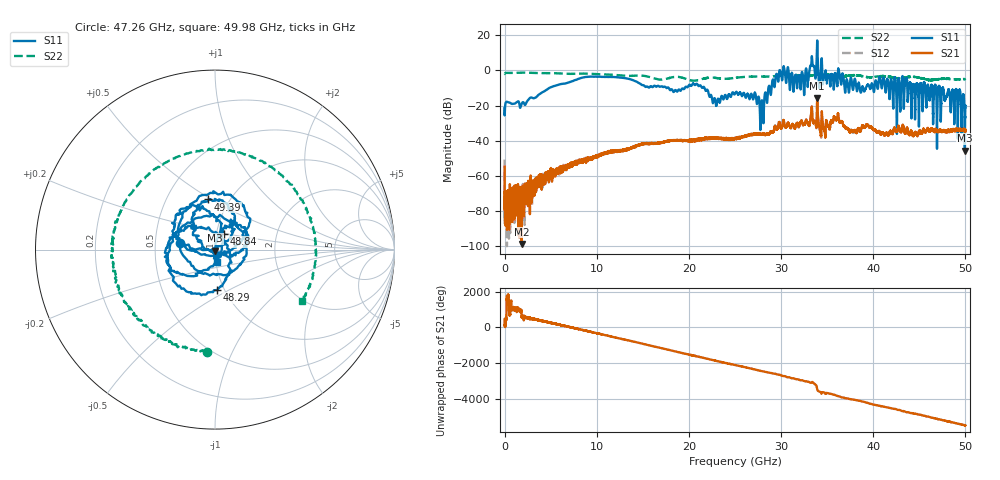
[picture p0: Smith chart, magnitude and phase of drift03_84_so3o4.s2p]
!Created with skrf (http://scikit-rf.org).
# Hz S RI R 50.0
!freq ReS11 ImS11 ReS21 ImS21 ReS12 ImS12 ReS22 ImS22
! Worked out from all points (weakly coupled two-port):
!   10001 points, 300 kHz to 50 GHz, reference 50 ohm
!   highest |S21| = -15.83 dB at 33.93 GHz (marker M1); lowest = -98.7 dB at 1.835 GHz (marker M2)
!   lowest |S11| = -45.5 dB at 49.95 GHz (marker M3), VSWR 1.01, Z = 50.2 - j0.505 ohm
!   |S11| at or under -10 dB: start of sweep to 4.851 GHz; 21.69 GHz to 28.62 GHz (6.936 GHz wide, 27.6 % of centre); 47.57 GHz to end of sweep (the widest 3 of 44)
!   |S22| runs from -5.9 to -1.3 dB; largest |S21 - S12| = 0.016
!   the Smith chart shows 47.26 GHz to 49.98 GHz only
!   S11 on the Smith chart (normalised r, x): 47.26 GHz: 0.68, +0.05; 48.29 GHz: 0.93, -0.44; 48.84 GHz: 1.09, +0.19; 49.39 GHz: 0.80, +0.49; 49.98 GHz: 1.02, -0.14
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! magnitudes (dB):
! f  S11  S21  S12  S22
! 300 kHz  -21.4  -54.9  -50.7  -2.1
! 255.3 MHz  -17.9  -76.7  -79.0  -1.4
! 1.835 GHz  -19.3  -98.7  -82.2  -1.3
! 8.335 GHz  -4.3  -51.0  -51.5  -1.9
! 16.67 GHz  -8.8  -41.5  -41.2  -5.1
! 21.01 GHz  -8.7  -39.1  -39.1  -5.6
! 22.81 GHz  -16.1  -38.3  -38.5  -4.2
! 25 GHz  -13.4  -38.6  -39.0  -4.3
! 27.92 GHz  -17.1  -36.7  -36.3  -3.5
! 29.69 GHz  -6.4  -31.9  -31.7  -3.1
! 32.32 GHz  -1.5  -30.5  -30.7  -3.3
! 33.34 GHz  8.1  -20.6  -20.7  -2.9
! 33.93 GHz  16.8  -15.8  -16.2  -2.5
! 38.82 GHz  -9.2  -31.2  -31.6  -3.3
! 41.67 GHz  -9.0  -36.7  -36.6  -3.6
! 47.26 GHz  -14.2  -33.9  -34.0  -4.9
! 48.29 GHz  -12.9  -34.7  -34.4  -4.9
! 48.84 GHz  -20.0  -33.5  -33.8  -5.1
! 49.39 GHz  -11.0  -33.4  -33.8  -5.1
! 49.95 GHz  -45.5  -33.8  -34.4  -5.0
! 49.98 GHz  -23.3  -33.6  -33.8  -5.0
! 50 GHz  -20.0  -34.6  -34.2  -4.9
